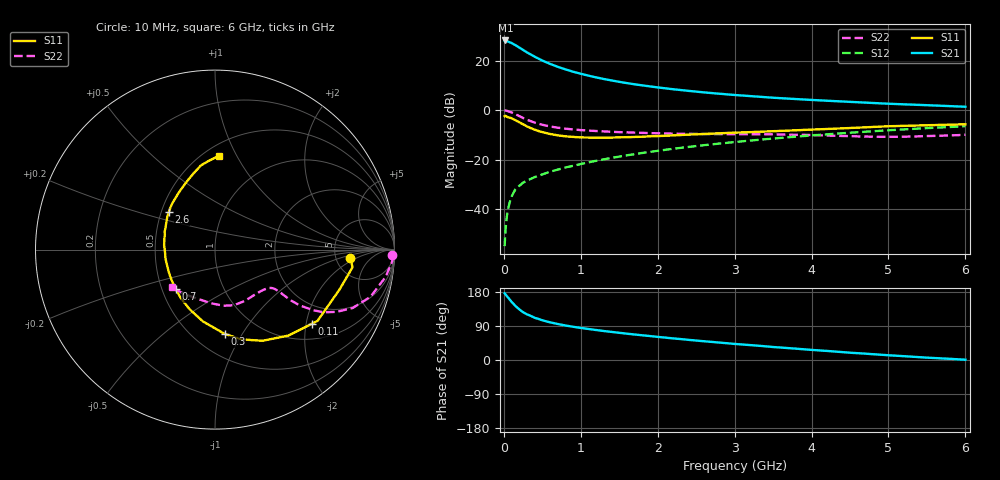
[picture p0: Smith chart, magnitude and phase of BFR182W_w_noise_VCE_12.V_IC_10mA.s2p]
! Infineon Technologies  Discrete & RF Semiconductors
! BFR182W
! VCE =  12. V,  IC =  10 mA
! Common Emitter S-Parameters:  Jan 2017
# GHz  S  MA  R  50
!  f  S11  S21  S12  S22
! GHz  MAG  ANG  MAG  ANG  MAG  ANG  MAG  ANG
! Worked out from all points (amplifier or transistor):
!   77 points, 10 MHz to 6 GHz, reference 50 ohm
!   highest |S21| = 28.2 dB at 20 MHz (marker M1)
!   |S21| within 3 dB of that: start of sweep to 207.6 MHz
!   unconditionally stable (mu >= 1): 1.105 GHz to 2.662 GHz
!   at 130 MHz: K = 0.29, MSG = 29.9 dB, |S12| = -33.1 dB
!   at 2.2 GHz: K = 1.03, MAG = 11.0 dB, |S12| = -15.6 dB
!   at 6 GHz: K = 0.85, MSG = 3.9 dB, |S12| = -6.4 dB
!   lowest NFmin = 1.07 dB at 450 MHz
!   S11 on the Smith chart (normalised r, x): 10 MHz: 6.86, -1.52; 110 MHz: 1.40, -2.16; 300 MHz: 0.70, -0.84; 700 MHz: 0.59, -0.29; 2.6 GHz: 0.55, +0.26; 6 GHz: 0.59, +0.85
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0.01  0.7563 -3.6  25.44 176.1  0.0018 76.9  0.9886 -1.8
0.02  0.7724 -7.3  25.66 173.7  0.0035 91.8  0.9895 -3.8
0.05  0.7285 -17.8  24.59 165.9  0.0092 79.1  0.9634 -9.0
0.1  0.6957 -34.8  22.87 153.5  0.0179 73.8  0.9058 -16.8
0.11  0.6792 -37.5  22.37 151.5  0.0193 72.1  0.8904 -18.0
0.15  0.63 -49.5  20.67 142.7  0.0252 67.3  0.833 -23.0
0.2  0.5728 -62.5  18.48 133.7  0.0296 65.0  0.7614 -27.1
0.25  0.521 -73.7  16.52 126.2  0.0345 62.0  0.6981 -30.0
0.3  0.4724 -83.5  14.74 120.5  0.0379 60.1  0.6425 -31.7
0.4  0.4063 -99.4  12.07 111.4  0.0446 59.8  0.563 -33.4
0.5  0.3615 -112.9  10.09 104.8  0.0505 60.0  0.509 -33.8
0.6  0.332 -124.6  8.655 99.4  0.0576 61.2  0.4707 -33.6
0.7  0.3111 -134.7  7.544 95.0  0.0631 62.0  0.4444 -33.4
0.9  0.2895 -150.8  5.999 87.7  0.0754 63.9  0.41 -33.3
1.1  0.2807 -164.3  4.996 81.9  0.0886 64.9  0.3887 -33.7
1.5  0.2845 175.3  3.746 71.8  0.1159 65.8  0.3618 -36.7
2.1  0.3051 153.8  2.773 59.1  0.159 64.6  0.3395 -45.1
2.6  0.3316 140.9  2.295 49.5  0.1968 62.6  0.3311 -54.5
3.1  0.357 129.6  1.982 40.9  0.2357 59.7  0.3279 -64.0
4.1  0.4124 112.0  1.586 25.3  0.3182 52.3  0.312 -83.7
5.1  0.4797 98.2  1.335 11.3  0.4023 43.4  0.291 -112.3
6  0.5213 87.8  1.177 0.8  0.4759 34.6  0.3194 -138.9
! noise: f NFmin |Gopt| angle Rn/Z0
0.45  1.07  0.08  50  0.15
0.9  1.15  0.07  86  0.15
1.9  1.65  0.19  -164  0.13
2.4  1.9  0.18  -156  0.2
